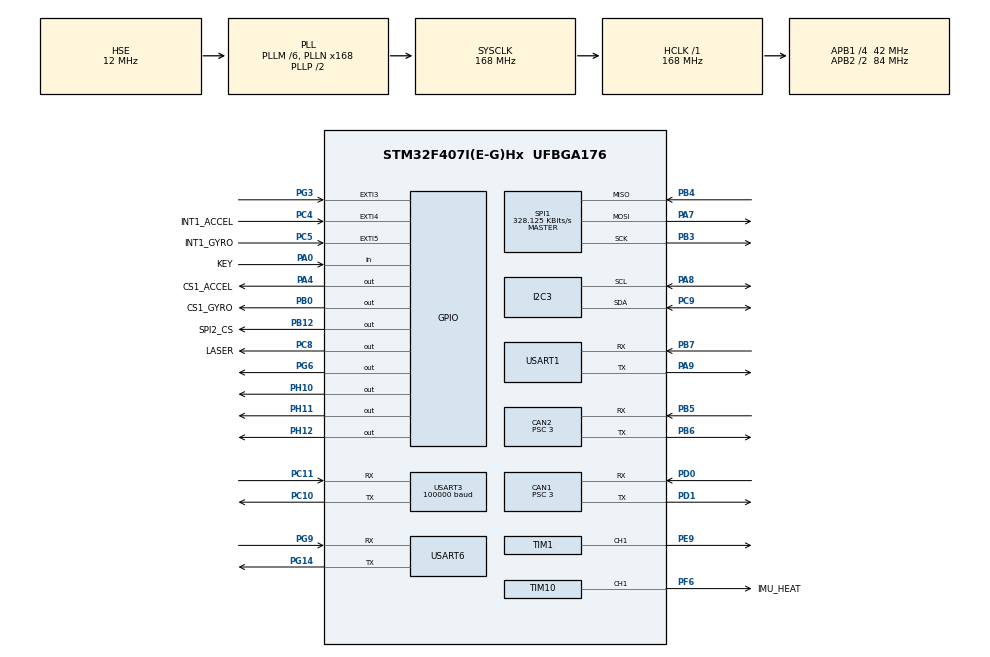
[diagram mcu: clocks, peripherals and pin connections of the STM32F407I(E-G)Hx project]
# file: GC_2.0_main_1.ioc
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CAN1.BS1=CAN_BS1_10TQ
CAN1.BS2=CAN_BS2_3TQ
CAN1.CalculateBaudRate=1000000
CAN1.CalculateTimeBit=1000
CAN1.CalculateTimeQuantum=71.42857142857143
CAN1.Prescaler=3
CAN2.BS1=CAN_BS1_10TQ
CAN2.BS2=CAN_BS2_3TQ
CAN2.CalculateBaudRate=1000000
CAN2.CalculateTimeBit=1000
CAN2.CalculateTimeQuantum=71.42857142857143
CAN2.Prescaler=3
Dma.Request0=USART1_TX
Dma.Request1=USART1_RX
Dma.Request2=USART3_RX
Dma.Request3=USART3_TX
Dma.Request4=USART6_RX
Dma.Request5=USART6_TX
Dma.Request6=SPI1_TX
Dma.Request7=SPI1_RX
Dma.SPI1_RX.7.Direction=DMA_PERIPH_TO_MEMORY
Dma.SPI1_RX.7.FIFOMode=DMA_FIFOMODE_DISABLE
Dma.SPI1_RX.7.Instance=DMA2_Stream0
Dma.SPI1_RX.7.MemDataAlignment=DMA_MDATAALIGN_BYTE
Dma.SPI1_RX.7.MemInc=DMA_MINC_ENABLE
Dma.SPI1_RX.7.Mode=DMA_NORMAL
Dma.SPI1_RX.7.PeriphDataAlignment=DMA_PDATAALIGN_BYTE
Dma.SPI1_RX.7.PeriphInc=DMA_PINC_DISABLE
Dma.SPI1_RX.7.Priority=DMA_PRIORITY_VERY_HIGH
Dma.SPI1_TX.6.Direction=DMA_MEMORY_TO_PERIPH
Dma.SPI1_TX.6.FIFOMode=DMA_FIFOMODE_DISABLE
Dma.SPI1_TX.6.Instance=DMA2_Stream3
Dma.SPI1_TX.6.MemDataAlignment=DMA_MDATAALIGN_BYTE
Dma.SPI1_TX.6.MemInc=DMA_MINC_ENABLE
Dma.SPI1_TX.6.Mode=DMA_NORMAL
Dma.SPI1_TX.6.PeriphDataAlignment=DMA_PDATAALIGN_BYTE
Dma.SPI1_TX.6.PeriphInc=DMA_PINC_DISABLE
Dma.SPI1_TX.6.Priority=DMA_PRIORITY_HIGH
Dma.USART1_RX.1.Direction=DMA_PERIPH_TO_MEMORY
Dma.USART1_RX.1.FIFOMode=DMA_FIFOMODE_DISABLE
Dma.USART1_RX.1.Instance=DMA2_Stream2
Dma.USART1_RX.1.MemDataAlignment=DMA_MDATAALIGN_BYTE
Dma.USART1_RX.1.MemInc=DMA_MINC_ENABLE
Dma.USART1_RX.1.Mode=DMA_CIRCULAR
Dma.USART1_RX.1.PeriphDataAlignment=DMA_PDATAALIGN_BYTE
Dma.USART1_RX.1.PeriphInc=DMA_PINC_DISABLE
Dma.USART1_RX.1.Priority=DMA_PRIORITY_VERY_HIGH
Dma.USART1_TX.0.Direction=DMA_MEMORY_TO_PERIPH
Dma.USART1_TX.0.FIFOMode=DMA_FIFOMODE_DISABLE
Dma.USART1_TX.0.Instance=DMA2_Stream7
Dma.USART1_TX.0.MemDataAlignment=DMA_MDATAALIGN_BYTE
Dma.USART1_TX.0.MemInc=DMA_MINC_ENABLE
Dma.USART1_TX.0.Mode=DMA_NORMAL
Dma.USART1_TX.0.PeriphDataAlignment=DMA_PDATAALIGN_BYTE
Dma.USART1_TX.0.PeriphInc=DMA_PINC_DISABLE
Dma.USART1_TX.0.Priority=DMA_PRIORITY_VERY_HIGH
Dma.USART3_RX.2.Direction=DMA_PERIPH_TO_MEMORY
Dma.USART3_RX.2.FIFOMode=DMA_FIFOMODE_DISABLE
Dma.USART3_RX.2.Instance=DMA1_Stream1
Dma.USART3_RX.2.MemDataAlignment=DMA_MDATAALIGN_BYTE
Dma.USART3_RX.2.MemInc=DMA_MINC_ENABLE
Dma.USART3_RX.2.Mode=DMA_CIRCULAR
Dma.USART3_RX.2.PeriphDataAlignment=DMA_PDATAALIGN_BYTE
Dma.USART3_RX.2.PeriphInc=DMA_PINC_DISABLE
Dma.USART3_RX.2.Priority=DMA_PRIORITY_VERY_HIGH
Dma.USART3_TX.3.Direction=DMA_MEMORY_TO_PERIPH
Dma.USART3_TX.3.FIFOMode=DMA_FIFOMODE_DISABLE
Dma.USART3_TX.3.Instance=DMA1_Stream3
Dma.USART3_TX.3.MemDataAlignment=DMA_MDATAALIGN_BYTE
Dma.USART3_TX.3.MemInc=DMA_MINC_ENABLE
Dma.USART3_TX.3.Mode=DMA_NORMAL
Dma.USART3_TX.3.PeriphDataAlignment=DMA_PDATAALIGN_BYTE
Dma.USART3_TX.3.PeriphInc=DMA_PINC_DISABLE
Dma.USART3_TX.3.Priority=DMA_PRIORITY_VERY_HIGH
Dma.USART6_RX.4.Direction=DMA_PERIPH_TO_MEMORY
Dma.USART6_RX.4.FIFOMode=DMA_FIFOMODE_DISABLE
Dma.USART6_RX.4.Instance=DMA2_Stream1
Dma.USART6_RX.4.MemDataAlignment=DMA_MDATAALIGN_BYTE
Dma.USART6_RX.4.MemInc=DMA_MINC_ENABLE
Dma.USART6_RX.4.Mode=DMA_CIRCULAR
Dma.USART6_RX.4.PeriphDataAlignment=DMA_PDATAALIGN_BYTE
Dma.USART6_RX.4.PeriphInc=DMA_PINC_DISABLE
Dma.USART6_RX.4.Priority=DMA_PRIORITY_VERY_HIGH
Dma.USART6_TX.5.Direction=DMA_MEMORY_TO_PERIPH
Dma.USART6_TX.5.FIFOMode=DMA_FIFOMODE_DISABLE
Dma.USART6_TX.5.Instance=DMA2_Stream6
Dma.USART6_TX.5.MemDataAlignment=DMA_MDATAALIGN_BYTE
Dma.USART6_TX.5.MemInc=DMA_MINC_ENABLE
Dma.USART6_TX.5.Mode=DMA_NORMAL
Dma.USART6_TX.5.PeriphDataAlignment=DMA_PDATAALIGN_BYTE
Dma.USART6_TX.5.PeriphInc=DMA_PINC_DISABLE
Dma.USART6_TX.5.Priority=DMA_PRIORITY_MEDIUM
FREERTOS.Tasks01=defaultTask,0,128,StartDefaultTask,Default,NULL,Dynamic,NULL,NULL
I2C3.I2C_Mode=I2C_Fast
Mcu.Family=STM32F4
Mcu.Name=STM32F407I(E-G)Hx
Mcu.Package=UFBGA176
NVIC.CAN1_RX0_IRQn=true\:5\:0\:false\:false\:true\:true\:true\:true\:true
NVIC.CAN1_TX_IRQn=true\:5\:0\:false\:false\:true\:true\:true\:true\:true
NVIC.CAN2_RX0_IRQn=true\:5\:0\:false\:false\:true\:true\:true\:true\:true
NVIC.CAN2_TX_IRQn=true\:5\:0\:false\:false\:true\:true\:true\:true\:true
NVIC.DMA1_Stream1_IRQn=true\:5\:0\:false\:false\:true\:true\:false\:true\:true
NVIC.DMA1_Stream3_IRQn=true\:5\:0\:false\:false\:true\:true\:false\:true\:true
NVIC.DMA2_Stream0_IRQn=true\:5\:0\:false\:false\:true\:true\:false\:true\:true
NVIC.DMA2_Stream1_IRQn=true\:5\:0\:false\:false\:true\:true\:false\:true\:true
NVIC.DMA2_Stream2_IRQn=true\:5\:0\:false\:false\:true\:true\:false\:true\:true
NVIC.DMA2_Stream3_IRQn=true\:5\:0\:false\:false\:true\:true\:false\:true\:true
NVIC.DMA2_Stream6_IRQn=true\:5\:0\:false\:false\:true\:true\:false\:true\:true
NVIC.DMA2_Stream7_IRQn=true\:5\:0\:false\:false\:true\:true\:false\:true\:true
NVIC.EXTI3_IRQn=true\:5\:0\:false\:false\:true\:true\:true\:true\:true
NVIC.EXTI4_IRQn=true\:5\:0\:false\:false\:true\:true\:true\:true\:true
NVIC.EXTI9_5_IRQn=true\:5\:0\:false\:false\:true\:true\:true\:true\:true
NVIC.PriorityGroup=NVIC_PRIORITYGROUP_4
NVIC.SPI1_IRQn=true\:5\:0\:false\:false\:true\:true\:true\:true\:true
NVIC.TIM1_BRK_TIM9_IRQn=true\:5\:0\:false\:false\:true\:true\:true\:true\:true
NVIC.TIM2_IRQn=true\:5\:0\:false\:false\:true\:true\:true\:true\:true
NVIC.TIM3_IRQn=true\:15\:0\:false\:false\:true\:false\:false\:true\:true
NVIC.TIM8_BRK_TIM12_IRQn=true\:5\:0\:false\:false\:true\:true\:true\:true\:true
NVIC.TIM8_UP_TIM13_IRQn=true\:5\:0\:false\:false\:true\:true\:true\:true\:true
NVIC.TimeBase=TIM3_IRQn
NVIC.TimeBaseIP=TIM3
NVIC.USART1_IRQn=true\:5\:0\:false\:false\:true\:true\:true\:true\:true
NVIC.USART3_IRQn=true\:5\:0\:false\:false\:true\:true\:true\:true\:true
NVIC.USART6_IRQn=true\:5\:0\:false\:false\:true\:true\:true\:true\:true
PA0-WKUP.GPIO_Label=KEY
PA0-WKUP.GPIO_PuPd=GPIO_PULLUP
PA0-WKUP.Signal=GPIO_Input
PA13.Mode=Serial_Wire
PA13.Signal=SYS_JTMS-SWDIO
PA14.Mode=Serial_Wire
PA14.Signal=SYS_JTCK-SWCLK
PA4.GPIO_Label=CS1_ACCEL
PA4.GPIO_PuPd=GPIO_PULLUP
PA4.GPIO_Speed=GPIO_SPEED_FREQ_HIGH
PA4.PinState=GPIO_PIN_SET
PA4.Signal=GPIO_Output
PA7.GPIO_PuPd=GPIO_PULLUP
PA7.Mode=Full_Duplex_Master
PA7.Signal=SPI1_MOSI
PA8.Mode=I2C
PA8.Signal=I2C3_SCL
PA9.Mode=Asynchronous
PA9.Signal=USART1_TX
PB0.GPIO_Label=CS1_GYRO
PB0.GPIO_PuPd=GPIO_PULLUP
PB0.GPIO_Speed=GPIO_SPEED_FREQ_HIGH
PB0.PinState=GPIO_PIN_SET
PB0.Signal=GPIO_Output
PB12.GPIO_Label=SPI2_CS
PB12.GPIO_PuPd=GPIO_PULLUP
PB12.GPIO_Speed=GPIO_SPEED_FREQ_MEDIUM
PB12.Signal=GPIO_Output
PB3.GPIO_PuPd=GPIO_PULLUP
PB3.Mode=Full_Duplex_Master
PB3.Signal=SPI1_SCK
PB4.GPIO_PuPd=GPIO_PULLUP
PB4.Mode=Full_Duplex_Master
PB4.Signal=SPI1_MISO
PB5.Mode=CAN_Activate
PB5.Signal=CAN2_RX
PB6.Mode=CAN_Activate
PB6.Signal=CAN2_TX
PB7.Mode=Asynchronous
PB7.Signal=USART1_RX
PC10.Mode=Asynchronous
PC10.Signal=USART3_TX
PC11.Mode=Asynchronous
PC11.Signal=USART3_RX
PC4.GPIO_Label=INT1_ACCEL
PC4.GPIO_PuPd=GPIO_PULLUP
PC4.Signal=GPXTI4
PC5.GPIO_Label=INT1_GYRO
PC5.GPIO_PuPd=GPIO_PULLUP
PC5.Signal=GPXTI5
PC8.GPIO_Label=LASER
PC8.Signal=GPIO_Output
PC9.Mode=I2C
PC9.Signal=I2C3_SDA
PD0.Mode=CAN_Activate
PD0.Signal=CAN1_RX
PD1.Mode=CAN_Activate
PD1.Signal=CAN1_TX
PE9.Signal=S_TIM1_CH1
PF6.GPIO_Label=IMU_HEAT
PF6.GPIO_PuPd=GPIO_PULLUP
PF6.GPIO_Speed=GPIO_SPEED_FREQ_HIGH
PF6.Signal=S_TIM10_CH1
PG14.GPIO_PuPd=GPIO_PULLUP
PG14.Mode=Asynchronous
PG14.Signal=USART6_TX
PG3.GPIO_PuPd=GPIO_PULLUP
PG3.Signal=GPXTI3
PG6.GPIO_PuPd=GPIO_PULLUP
PG6.GPIO_Speed=GPIO_SPEED_FREQ_MEDIUM
PG6.PinState=GPIO_PIN_SET
PG6.Signal=GPIO_Output
PG9.GPIO_PuPd=GPIO_PULLUP
PG9.Mode=Asynchronous
PG9.Signal=USART6_RX
PH0-OSC_IN.Mode=HSE-External-Oscillator
PH0-OSC_IN.Signal=RCC_OSC_IN
PH1-OSC_OUT.Mode=HSE-External-Oscillator
PH1-OSC_OUT.Signal=RCC_OSC_OUT
PH10.GPIO_PuPd=GPIO_PULLUP
PH10.PinState=GPIO_PIN_RESET
PH10.Signal=GPIO_Output
PH11.GPIO_PuPd=GPIO_PULLUP
PH11.PinState=GPIO_PIN_RESET
PH11.Signal=GPIO_Output
PH12.GPIO_PuPd=GPIO_PULLUP
PH12.PinState=GPIO_PIN_RESET
PH12.Signal=GPIO_Output
ProjectManager.HeapSize=0x200
ProjectManager.StackSize=0x400
ProjectManager.TargetToolchain=MDK-ARM V5.32
RCC.48MHZClocksFreq_Value=84000000
RCC.AHBFreq_Value=168000000
RCC.APB1CLKDivider=RCC_HCLK_DIV4
RCC.APB1Freq_Value=42000000
RCC.APB1TimFreq_Value=84000000
RCC.APB2CLKDivider=RCC_HCLK_DIV2
RCC.APB2Freq_Value=84000000
RCC.APB2TimFreq_Value=168000000
RCC.CortexFreq_Value=168000000
RCC.HCLKFreq_Value=168000000
RCC.HSE_VALUE=12000000
RCC.HSI_VALUE=16000000
RCC.LSE_VALUE=32768
RCC.PLLM=6
RCC.PLLN=168
RCC.PLLSourceVirtual=RCC_PLLSOURCE_HSE
RCC.SYSCLKFreq_VALUE=168000000
RCC.SYSCLKSource=RCC_SYSCLKSOURCE_PLLCLK
RCC.VCOOutputFreq_Value=336000000
SH.S_TIM10_CH1.0=TIM10_CH1,PWM Generation1 CH1
SH.S_TIM1_CH1.0=TIM1_CH1,PWM Generation1 CH1
SPI1.BaudRatePrescaler=SPI_BAUDRATEPRESCALER_256
SPI1.CLKPhase=SPI_PHASE_2EDGE
SPI1.CLKPolarity=SPI_POLARITY_HIGH
SPI1.CalculateBaudRate=328.125 KBits/s
SPI1.Direction=SPI_DIRECTION_2LINES
SPI1.Mode=SPI_MODE_MASTER
SPI1.VirtualType=VM_MASTER
TIM1.Channel-PWM\ Generation1\ CH1=TIM_CHANNEL_1
TIM1.Period=100-1
TIM1.Prescaler=16800-1
TIM1.Pulse-PWM\ Generation1\ CH1=2000
TIM10.Channel=TIM_CHANNEL_1
TIM10.Period=5000-1
TIM2.Period=100-1
TIM2.Prescaler=8400-1
TIM8.Period=100-1
TIM8.Prescaler=16800-1
TIM9.Period=100-1
TIM9.Prescaler=16800-1
USART1.VirtualMode=VM_ASYNC
USART3.BaudRate=100000
USART3.VirtualMode=VM_ASYNC
USART6.VirtualMode=VM_ASYNC
VP_FREERTOS_VS_CMSIS_V1.Mode=CMSIS_V1
VP_SYS_VS_tim3.Mode=TIM3
VP_TIM10_VS_ClockSourceINT.Mode=Enable_Timer
VP_TIM1_VS_ClockSourceINT.Mode=Internal
VP_TIM2_VS_ClockSourceINT.Mode=Internal
VP_TIM8_VS_ClockSourceINT.Mode=Internal
VP_TIM9_VS_ClockSourceINT.Mode=Internal
board=custom

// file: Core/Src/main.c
/* USER CODE BEGIN Header */
/**
  ******************************************************************************
  * @file           : main.c
  * @brief          : Main program body
  ******************************************************************************
  * @attention
  *
  * Copyright (c) 2022 STMicroelectronics.
  * All rights reserved.
  *
  * This software is licensed under terms that can be found in the LICENSE file
  * in the root directory of this software component.
  * If no LICENSE file comes with this software, it is provided AS-IS.
  *
  ******************************************************************************
  */
/* USER CODE END Header */
#include "main.h"
#include "cmsis_os.h"
#include "can.h"
#include "dma.h"
#include "i2c.h"
#include "spi.h"
#include "tim.h"
#include "usart.h"
#include "gpio.h"

/* USER CODE BEGIN Includes */
#include "rc_potocal.h"
#include "drv_can.h"
#include "drv_usart.h"
/* USER CODE END Includes */

void SystemClock_Config(void);
void MX_FREERTOS_Init(void);
/* USER CODE BEGIN PFP */
//全局变量

float target_speed[7];//实测最大空载转速320rpm
moto_info_t motor_info[MOTOR_MAX_NUM];		//赋予最大的7个字节
moto_info_t motor_info_can_2[MOTOR_MAX_NUM];		//赋予最大的7个字节
pid_struct_t motor_pid[7];
pid_struct_t motor_pid_can_2[7];
uint8_t can_flag=0;
uint8_t remote_flag=0;
double step=9158/660;
double r;
double sin_sita;
double cos_sita;
double target_v;
int16_t target_int1;
int16_t target_int2;//用于叠加旋转和直行
double target_curl;
float yuntai_step=60*(1024-364);

/* USER CODE END PFP */

int main(void)
{

  /* MCU Configuration--------------------------------------------------------*/

  /* Reset of all peripherals, Initializes the Flash interface and the Systick. */
  HAL_Init();

  /* Configure the system clock */
  SystemClock_Config();

  /* Initialize all configured peripherals */
  MX_GPIO_Init();
  MX_DMA_Init();
  MX_CAN1_Init();
  MX_CAN2_Init();
  MX_USART1_UART_Init();
  MX_USART3_UART_Init();
  MX_USART6_UART_Init();
  MX_SPI1_Init();
  MX_I2C3_Init();
  MX_TIM1_Init();
  MX_TIM2_Init();
  MX_TIM8_Init();
  MX_TIM9_Init();
  MX_TIM10_Init();
  /* USER CODE BEGIN 2 */
	HAL_TIM_PWM_Start(&htim10,TIM_CHANNEL_1);
	HAL_NVIC_SetPriority(TIM2_IRQn, 0, 0);//修改TIM2中断优先级
	CAN1_Init();
  CAN2_Init();
  USART6_Init();
	USART3_Init();
  /* USER CODE END 2 */

  /* Call init function for freertos objects (in freertos.c) */
  MX_FREERTOS_Init();

  /* Start scheduler */
  osKernelStart();

  /* We should never get here as control is now taken by the scheduler */
  /* Infinite loop */
  while (1)
  {

  }
}

void SystemClock_Config(void)
{
  RCC_OscInitTypeDef RCC_OscInitStruct = {0};
  RCC_ClkInitTypeDef RCC_ClkInitStruct = {0};

  /** Configure the main internal regulator output voltage
  */
  __HAL_RCC_PWR_CLK_ENABLE();
  __HAL_PWR_VOLTAGESCALING_CONFIG(PWR_REGULATOR_VOLTAGE_SCALE1);

  /** Initializes the RCC Oscillators according to the specified parameters
  * in the RCC_OscInitTypeDef structure.
  */
  RCC_OscInitStruct.OscillatorType = RCC_OSCILLATORTYPE_HSE;
  RCC_OscInitStruct.HSEState = RCC_HSE_ON;
  RCC_OscInitStruct.PLL.PLLState = RCC_PLL_ON;
  RCC_OscInitStruct.PLL.PLLSource = RCC_PLLSOURCE_HSE;
  RCC_OscInitStruct.PLL.PLLM = 6;
  RCC_OscInitStruct.PLL.PLLN = 168;
  RCC_OscInitStruct.PLL.PLLP = RCC_PLLP_DIV2;
  RCC_OscInitStruct.PLL.PLLQ = 4;
  if (HAL_RCC_OscConfig(&RCC_OscInitStruct) != HAL_OK)
  {
    Error_Handler();
  }

  /** Initializes the CPU, AHB and APB buses clocks
  */
  RCC_ClkInitStruct.ClockType = RCC_CLOCKTYPE_HCLK|RCC_CLOCKTYPE_SYSCLK
                              |RCC_CLOCKTYPE_PCLK1|RCC_CLOCKTYPE_PCLK2;
  RCC_ClkInitStruct.SYSCLKSource = RCC_SYSCLKSOURCE_PLLCLK;
  RCC_ClkInitStruct.AHBCLKDivider = RCC_SYSCLK_DIV1;
  RCC_ClkInitStruct.APB1CLKDivider = RCC_HCLK_DIV4;
  RCC_ClkInitStruct.APB2CLKDivider = RCC_HCLK_DIV2;

  if (HAL_RCC_ClockConfig(&RCC_ClkInitStruct, FLASH_LATENCY_5) != HAL_OK)
  {
    Error_Handler();
  }
}

void HAL_TIM_PeriodElapsedCallback(TIM_HandleTypeDef *htim)
{
  if (htim->Instance == TIM3) {
    HAL_IncTick();
  }
}

void Error_Handler(void)
{
  __disable_irq();
  while (1)
  {
  }
}

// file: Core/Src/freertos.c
/* USER CODE BEGIN Header */
/**
  ******************************************************************************
  * File Name          : freertos.c
  * Description        : Code for freertos applications
  ******************************************************************************
  * @attention
  *
  * Copyright (c) 2022 STMicroelectronics.
  * All rights reserved.
  *
  * This software is licensed under terms that can be found in the LICENSE file
  * in the root directory of this software component.
  * If no LICENSE file comes with this software, it is provided AS-IS.
  *
  ******************************************************************************
  */
/* USER CODE END Header */

#include "FreeRTOS.h"
#include "task.h"
#include "main.h"
#include "cmsis_os.h"

/* USER CODE BEGIN Includes */
#include "rc_potocal.h"
#include "PID.h"
#include "arm_math.h"
#include "chassis_control.h"
#include "rc_check.h"
#include "gantry.h"

/* USER CODE END Includes */

osThreadId defaultTaskHandle;
osThreadId chassisTaskHandle;
osThreadId gantryTaskHandle;
osThreadId checkTaskHandle;

void StartDefaultTask(void const * argument);

void MX_FREERTOS_Init(void); /* (MISRA C 2004 rule 8.1) */

/* GetIdleTaskMemory prototype (linked to static allocation support) */
void vApplicationGetIdleTaskMemory( StaticTask_t **ppxIdleTaskTCBBuffer, StackType_t **ppxIdleTaskStackBuffer, uint32_t *pulIdleTaskStackSize );

/* USER CODE BEGIN GET_IDLE_TASK_MEMORY */
static StaticTask_t xIdleTaskTCBBuffer;
static StackType_t xIdleStack[configMINIMAL_STACK_SIZE];

void vApplicationGetIdleTaskMemory( StaticTask_t **ppxIdleTaskTCBBuffer, StackType_t **ppxIdleTaskStackBuffer, uint32_t *pulIdleTaskStackSize )
{
  *ppxIdleTaskTCBBuffer = &xIdleTaskTCBBuffer;
  *ppxIdleTaskStackBuffer = &xIdleStack[0];
  *pulIdleTaskStackSize = configMINIMAL_STACK_SIZE;
  /* place for user code */
}
/* USER CODE END GET_IDLE_TASK_MEMORY */

void MX_FREERTOS_Init(void) {
  /* USER CODE BEGIN Init */

	osThreadDef(chassisTask, StartChassisTask, osPriorityNormal, 0, 256);		//底盘控制
  chassisTaskHandle = osThreadCreate(osThread(chassisTask), NULL);

	osThreadDef(gantryTask, StartGantryTask, osPriorityNormal, 0, 128);		//龙门架控制
  gantryTaskHandle = osThreadCreate(osThread(gantryTask), NULL);

	osThreadDef(checkTask, StartCheckTask, osPriorityNormal, 0, 128);
  checkTaskHandle = osThreadCreate(osThread(checkTask), NULL);

  /* USER CODE END Init */

  /* Create the thread(s) */
  /* definition and creation of defaultTask */
  osThreadDef(defaultTask, StartDefaultTask, osPriorityNormal, 0, 128);
  defaultTaskHandle = osThreadCreate(osThread(defaultTask), NULL);

}

void StartDefaultTask(void const * argument)
{
  /* USER CODE BEGIN StartDefaultTask */
  /* Infinite loop */
	HAL_GPIO_WritePin(GPIOH,GPIO_PIN_11,GPIO_PIN_SET);		//先亮个绿灯
  for(;;)
  {
    osDelay(1);
  }
  /* USER CODE END StartDefaultTask */
}
